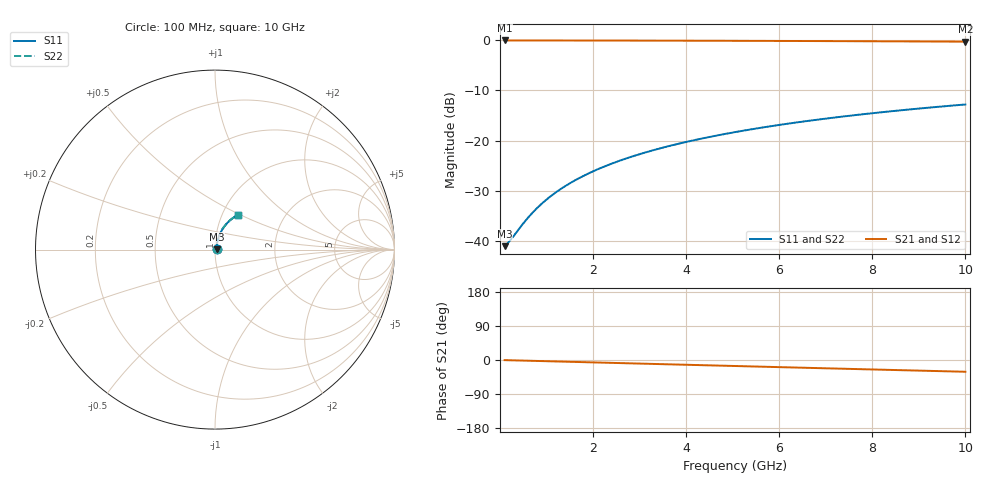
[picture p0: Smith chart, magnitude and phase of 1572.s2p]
# Hz S RI R 50.00
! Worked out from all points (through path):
!   100 points, 100 MHz to 10 GHz, reference 50 ohm
!   highest |S21| = -0.08 dB at 100 MHz (marker M1); lowest = -0.3 dB at 10 GHz (marker M2)
!   group delay of S21, straight-line fit = 8.63 ps
!   lowest |S11| = -41.0 dB at 100 MHz (marker M3), VSWR 1.02, Z = 50.9 + j0.244 ohm
!   |S11| at or under -10 dB: start of sweep to end of sweep
!   |S22| runs from -41.0 to -12.8 dB; largest |S21 - S12| = 0
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1e8  0.00861 0.0024  0.9914 -0.00545  0.9914 -0.00545  0.00861 0.0024
2e8  0.00871 0.00479  0.9913 -0.0109  0.9913 -0.0109  0.00871 0.00479
5e8  0.00908 0.012  0.9908 -0.0272  0.9908 -0.0272  0.00908 0.012
6e8  0.00925 0.0144  0.9906 -0.0327  0.9906 -0.0327  0.00925 0.0144
7e8  0.00945 0.0167  0.9903 -0.0381  0.9903 -0.0381  0.00945 0.0167
9e8  0.00991 0.0215  0.9897 -0.049  0.9897 -0.049  0.00991 0.0215
1.1e9  0.0105 0.0263  0.9889 -0.0599  0.9889 -0.0599  0.0105 0.0263
1.3e9  0.0111 0.031  0.988 -0.0707  0.988 -0.0707  0.0111 0.031
1.5e9  0.0119 0.0357  0.987 -0.0816  0.987 -0.0816  0.0119 0.0357
1.8e9  0.0132 0.0428  0.9852 -0.0978  0.9852 -0.0978  0.0132 0.0428
2.1e9  0.0148 0.0498  0.9831 -0.114  0.9831 -0.114  0.0148 0.0498
2.5e9  0.0172 0.059  0.9798 -0.1354  0.9798 -0.1354  0.0172 0.059
2.9e9  0.0201 0.0681  0.9759 -0.1568  0.9759 -0.1568  0.0201 0.0681
3.4e9  0.0241 0.0793  0.9703 -0.1832  0.9703 -0.1832  0.0241 0.0793
3.8e9  0.0278 0.0881  0.9652 -0.2042  0.9652 -0.2042  0.0278 0.0881
4.2e9  0.0319 0.0966  0.9596 -0.225  0.9596 -0.225  0.0319 0.0966
5.1e9  0.0424 0.1152  0.9452 -0.2711  0.9452 -0.2711  0.0424 0.1152
5.9e9  0.0532 0.1306  0.9302 -0.3111  0.9302 -0.3111  0.0532 0.1306
6.7e9  0.0652 0.1451  0.9133 -0.3499  0.9133 -0.3499  0.0652 0.1451
7.5e9  0.0783 0.1583  0.8947 -0.3877  0.8947 -0.3877  0.0783 0.1583
8.4e9  0.0943 0.1718  0.8718 -0.4286  0.8718 -0.4286  0.0943 0.1718
1e10  0.1254 0.1915  0.8263 -0.4971  0.8263 -0.4971  0.1254 0.1915
